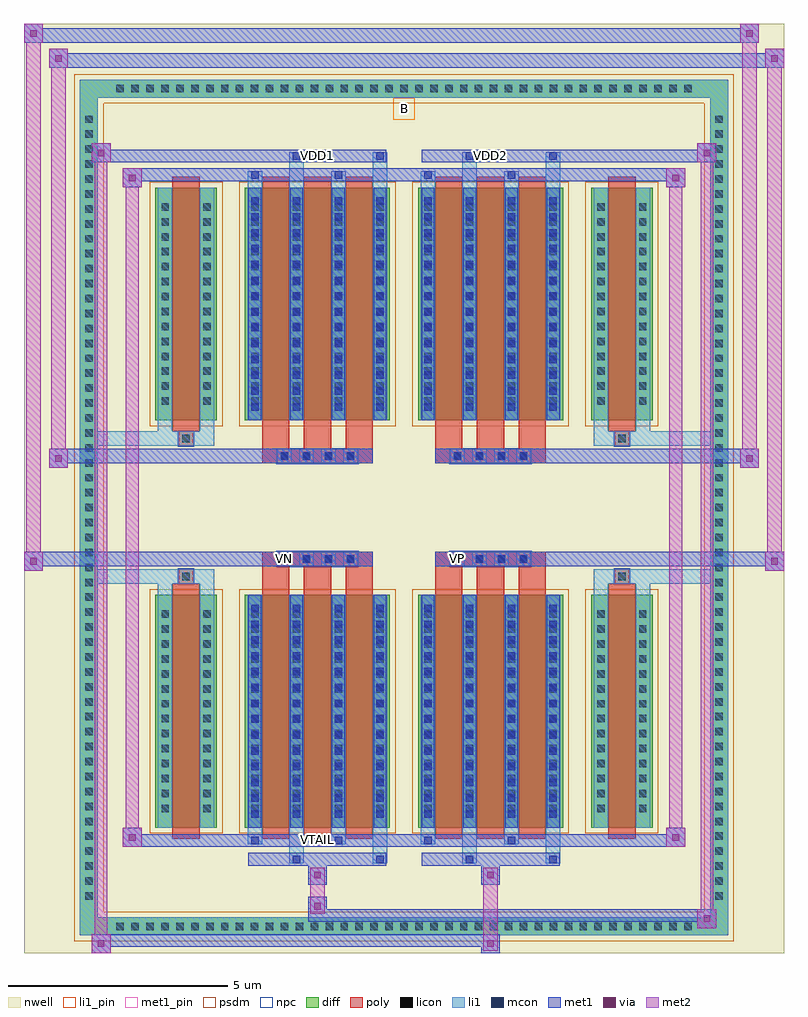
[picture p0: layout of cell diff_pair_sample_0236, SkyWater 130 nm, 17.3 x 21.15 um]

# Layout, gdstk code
import gdstk
lib = gdstk.Library(unit=1e-6, precision=5e-09)
def R(c, l, rs):  # rectangles x0, y0, x1, y1
    for r in rs: c.add(gdstk.rectangle(r[:2], r[2:], *l))
def A(c, l, x, y, w, h, nx, ny, dx, dy):  # array of equal rectangles
    R(c, l, [(x+i*dx, y+j*dy, x+i*dx+w, y+j*dy+h) for i in range(nx) for j in range(ny)])
def P(c, l, *ps):  # polygons
    for p in ps: c.add(gdstk.Polygon(p, *l))
nwell = (64, 20)
diff = (65, 20)
poly = (66, 20)
licon = (66, 44)
li1_pin = (67, 16)
li1 = (67, 20)
mcon = (67, 44)
met1_pin = (68, 16)
met1 = (68, 20)
via = (68, 44)
met2 = (69, 20)
psdm = (94, 20)
npc = (95, 20)

diff_pair_sample_0236 = lib.new_cell('diff_pair_sample_0236')
R(diff_pair_sample_0236, nwell, [(-8.65,-10.14,8.65,11.01), (-5.97,-8.33,-0.01,-0.805), (0.01,-8.33,5.97,-0.805), (-5.97,0.805,-0.01,8.33), (0.01,0.805,5.97,8.33)])
A(diff_pair_sample_0236, diff, -6.665, -9.74, 0.41, 0.41, 39, 2, 0.34, 19.07)
A(diff_pair_sample_0236, diff, -7.38, -9.045, 0.41, 0.41, 1, 53, 0, 0.34)
A(diff_pair_sample_0236, diff, 6.97, -9.045, 0.41, 0.41, 1, 53, 0, 0.34)
R(diff_pair_sample_0236, diff, [(-6.665,-9.74,6.665,-9.33), (-7.38,-9.045,-6.97,9.045), (6.97,-9.045,7.38,9.045), (-5.66,-7.285,-4.26,-1.985), (-3.62,-7.285,-0.32,-1.985), (0.32,-7.285,3.62,-1.985), (4.26,-7.285,5.66,-1.985), (-5.66,1.985,-4.26,7.285), (-3.62,1.985,-0.32,7.285), (0.32,1.985,3.62,7.285), (4.26,1.985,5.66,7.285), (-6.665,9.33,6.665,9.74)])
P(diff_pair_sample_0236, diff, [(7.38,9.74),(-7.38,9.74),(-7.38,-9.33),(-6.97,-9.33),(-6.97,9.33),(6.97,9.33),(6.97,-9.33),(-6.97,-9.33),(-7.38,-9.33),(-7.38,-9.74),(7.38,-9.74)])
A(diff_pair_sample_0236, poly, -3.23, -7.535, 0.62, 5.8, 3, 2, 0.95, 9.27)
A(diff_pair_sample_0236, poly, 0.71, -7.535, 0.62, 5.8, 3, 2, 0.95, 9.27)
A(diff_pair_sample_0236, poly, -3.23, -1.735, 0.62, 0.4, 3, 2, 0.95, 3.07)
A(diff_pair_sample_0236, poly, 0.71, -1.735, 0.62, 0.4, 3, 2, 0.95, 3.07)
A(diff_pair_sample_0236, poly, -2.885, -1.335, 0.33, 0.33, 4, 2, 0.5, 2.34)
A(diff_pair_sample_0236, poly, 1.055, -1.335, 0.33, 0.33, 4, 2, 0.5, 2.34)
R(diff_pair_sample_0236, poly, [(-5.27,-7.535,-4.65,-1.735), (4.65,-7.535,5.27,-1.735), (-5.125,-1.735,-4.795,-1.405), (-5.125,-1.735,-4.795,-1.405), (4.795,-1.735,5.125,-1.405), (4.795,-1.735,5.125,-1.405), (-3.23,-1.335,-0.71,-1.005), (0.71,-1.335,3.23,-1.005), (-3.23,1.005,-0.71,1.335), (0.71,1.005,3.23,1.335), (-5.125,1.405,-4.795,1.735), (-5.125,1.405,-4.795,1.735), (4.795,1.405,5.125,1.735), (4.795,1.405,5.125,1.735), (-5.27,1.735,-4.65,7.535), (4.65,1.735,5.27,7.535)])
A(diff_pair_sample_0236, licon, -6.545, -9.62, 0.17, 0.17, 39, 2, 0.34, 19.07)
A(diff_pair_sample_0236, licon, -7.26, -8.925, 0.17, 0.17, 1, 53, 0, 0.34)
A(diff_pair_sample_0236, licon, 7.09, -8.925, 0.17, 0.17, 1, 53, 0, 0.34)
A(diff_pair_sample_0236, licon, -5.52, -6.93, 0.17, 0.17, 1, 14, 0, 0.34)
A(diff_pair_sample_0236, licon, -4.57, -6.93, 0.17, 0.17, 1, 14, 0, 0.34)
A(diff_pair_sample_0236, licon, -3.48, -6.93, 0.17, 0.17, 4, 14, 0.95, 0.34)
A(diff_pair_sample_0236, licon, 0.46, -6.93, 0.17, 0.17, 4, 14, 0.95, 0.34)
A(diff_pair_sample_0236, licon, 4.4, -6.93, 0.17, 0.17, 1, 14, 0, 0.34)
A(diff_pair_sample_0236, licon, 5.35, -6.93, 0.17, 0.17, 1, 14, 0, 0.34)
A(diff_pair_sample_0236, licon, -2.805, -1.255, 0.17, 0.17, 4, 2, 0.5, 2.34)
A(diff_pair_sample_0236, licon, 1.135, -1.255, 0.17, 0.17, 4, 2, 0.5, 2.34)
A(diff_pair_sample_0236, licon, -5.52, 2.34, 0.17, 0.17, 1, 14, 0, 0.34)
A(diff_pair_sample_0236, licon, -4.57, 2.34, 0.17, 0.17, 1, 14, 0, 0.34)
A(diff_pair_sample_0236, licon, -3.48, 2.34, 0.17, 0.17, 4, 14, 0.95, 0.34)
A(diff_pair_sample_0236, licon, 0.46, 2.34, 0.17, 0.17, 4, 14, 0.95, 0.34)
A(diff_pair_sample_0236, licon, 4.4, 2.34, 0.17, 0.17, 1, 14, 0, 0.34)
A(diff_pair_sample_0236, licon, 5.35, 2.34, 0.17, 0.17, 1, 14, 0, 0.34)
R(diff_pair_sample_0236, licon, [(-5.045,-1.655,-4.875,-1.485), (4.875,-1.655,5.045,-1.485), (-5.045,1.485,-4.875,1.655), (4.875,1.485,5.045,1.655)])
R(diff_pair_sample_0236, li1_pin, [(-0.25,8.83,0.25,9.33)])
A(diff_pair_sample_0236, li1, -6.625, -9.7, 0.33, 0.33, 39, 2, 0.34, 19.07)
A(diff_pair_sample_0236, li1, -7.34, -9.005, 0.33, 0.33, 1, 53, 0, 0.34)
A(diff_pair_sample_0236, li1, 7.01, -9.005, 0.33, 0.33, 1, 53, 0, 0.34)
A(diff_pair_sample_0236, li1, -3.56, -7.285, 0.33, 5.3, 4, 2, 0.95, 9.27)
A(diff_pair_sample_0236, li1, 0.38, -7.285, 0.33, 5.3, 4, 2, 0.95, 9.27)
A(diff_pair_sample_0236, li1, -3.48, -7.06, 0.17, 0.17, 4, 14, 0.95, 0.36)
A(diff_pair_sample_0236, li1, -3.48, -7.06, 0.17, 4.85, 4, 2, 0.95, 9.27)
A(diff_pair_sample_0236, li1, 0.46, -7.06, 0.17, 0.17, 4, 14, 0.95, 0.36)
A(diff_pair_sample_0236, li1, 0.46, -7.06, 0.17, 4.85, 4, 2, 0.95, 9.27)
A(diff_pair_sample_0236, li1, -5.6, -7.01, 0.33, 0.33, 1, 14, 0, 0.34)
A(diff_pair_sample_0236, li1, -4.65, -7.01, 0.33, 0.33, 1, 14, 0, 0.34)
A(diff_pair_sample_0236, li1, -3.56, -7.01, 0.33, 0.33, 4, 14, 0.95, 0.34)
A(diff_pair_sample_0236, li1, 0.38, -7.01, 0.33, 0.33, 4, 14, 0.95, 0.34)
A(diff_pair_sample_0236, li1, 4.32, -7.01, 0.33, 0.33, 1, 14, 0, 0.34)
A(diff_pair_sample_0236, li1, 5.27, -7.01, 0.33, 0.33, 1, 14, 0, 0.34)
A(diff_pair_sample_0236, li1, -2.885, -1.335, 0.33, 0.33, 4, 2, 0.5, 2.34)
A(diff_pair_sample_0236, li1, 1.055, -1.335, 0.33, 0.33, 4, 2, 0.5, 2.34)
A(diff_pair_sample_0236, li1, -3.48, 2.21, 0.17, 0.17, 4, 14, 0.95, 0.36)
A(diff_pair_sample_0236, li1, 0.46, 2.21, 0.17, 0.17, 4, 14, 0.95, 0.36)
A(diff_pair_sample_0236, li1, -5.6, 2.26, 0.33, 0.33, 1, 14, 0, 0.34)
A(diff_pair_sample_0236, li1, -4.65, 2.26, 0.33, 0.33, 1, 14, 0, 0.34)
A(diff_pair_sample_0236, li1, -3.56, 2.26, 0.33, 0.33, 4, 14, 0.95, 0.34)
A(diff_pair_sample_0236, li1, 0.38, 2.26, 0.33, 0.33, 4, 14, 0.95, 0.34)
A(diff_pair_sample_0236, li1, 4.32, 2.26, 0.33, 0.33, 1, 14, 0, 0.34)
A(diff_pair_sample_0236, li1, 5.27, 2.26, 0.33, 0.33, 1, 14, 0, 0.34)
R(diff_pair_sample_0236, li1, [(-7.38,-9.74,-6.97,-9.33), (-7.38,-9.74,-6.97,-9.33), (-6.97,-9.74,6.97,-9.33), (6.97,-9.74,7.38,-9.33), (6.97,-9.74,7.38,-9.33), (-7.38,-9.33,-6.97,9.33), (6.97,-9.33,7.38,9.33), (-2.61,-8.09,-2.28,-7.285), (-2.53,-8.09,-2.36,-7.92), (-0.71,-8.09,-0.38,-7.285), (-0.63,-8.09,-0.46,-7.92), (1.33,-8.09,1.66,-7.285), (1.41,-8.09,1.58,-7.92), (3.23,-8.09,3.56,-7.285), (3.31,-8.09,3.48,-7.92), (-3.56,-7.66,-3.23,-7.285), (-3.48,-7.66,-3.31,-7.49), (-1.66,-7.66,-1.33,-7.285), (-1.58,-7.66,-1.41,-7.49), (0.38,-7.66,0.71,-7.285), (0.46,-7.66,0.63,-7.49), (2.28,-7.66,2.61,-7.285), (2.36,-7.66,2.53,-7.49), (-5.6,-7.285,-5.27,-1.985), (-4.65,-7.285,-4.32,-1.985), (4.32,-7.285,4.65,-1.985), (5.27,-7.285,5.6,-1.985), (-5.6,-1.985,-5.27,-1.405), (-4.65,-1.985,-4.32,-1.405), (4.32,-1.985,4.65,-1.405), (5.27,-1.985,5.6,-1.405), (-7.38,-1.735,-5.125,-1.405), (-5.6,-1.735,-5.125,-1.405), (-5.125,-1.735,-4.795,-1.405), (-4.795,-1.735,-4.32,-1.405), (4.32,-1.735,4.795,-1.405), (4.795,-1.735,5.125,-1.405), (4.795,-1.735,7.38,-1.405), (5.125,-1.735,5.6,-1.405), (-7.38,1.405,-5.125,1.735), (-5.6,1.405,-5.125,1.735), (-5.6,1.405,-5.27,1.985), (-5.125,1.405,-4.795,1.735), (-4.795,1.405,-4.32,1.735), (-4.65,1.405,-4.32,1.985), (4.32,1.405,4.795,1.735), (4.32,1.405,4.65,1.985), (4.795,1.405,5.125,1.735), (4.795,1.405,7.38,1.735), (5.125,1.405,5.6,1.735), (5.27,1.405,5.6,1.985), (-5.6,1.985,-5.27,7.285), (-4.65,1.985,-4.32,7.285), (4.32,1.985,4.65,7.285), (5.27,1.985,5.6,7.285), (-3.56,7.285,-3.23,7.66), (-2.61,7.285,-2.28,8.09), (-1.66,7.285,-1.33,7.66), (-0.71,7.285,-0.38,8.09), (0.38,7.285,0.71,7.66), (1.33,7.285,1.66,8.09), (2.28,7.285,2.61,7.66), (3.23,7.285,3.56,8.09), (-3.48,7.49,-3.31,7.66), (-1.58,7.49,-1.41,7.66), (0.46,7.49,0.63,7.66), (2.36,7.49,2.53,7.66), (-2.53,7.92,-2.36,8.09), (-0.63,7.92,-0.46,8.09), (1.41,7.92,1.58,8.09), (3.31,7.92,3.48,8.09), (-7.38,9.33,-6.97,9.74), (-7.38,9.33,-6.97,9.74), (-6.97,9.33,6.97,9.74), (6.97,9.33,7.38,9.74), (6.97,9.33,7.38,9.74)])
A(diff_pair_sample_0236, mcon, -3.48, -7.06, 0.17, 0.17, 4, 14, 0.95, 0.36)
A(diff_pair_sample_0236, mcon, 0.46, -7.06, 0.17, 0.17, 4, 14, 0.95, 0.36)
A(diff_pair_sample_0236, mcon, -2.805, -1.255, 0.17, 0.17, 4, 2, 0.5, 2.34)
A(diff_pair_sample_0236, mcon, 1.135, -1.255, 0.17, 0.17, 4, 2, 0.5, 2.34)
A(diff_pair_sample_0236, mcon, -3.48, 2.21, 0.17, 0.17, 4, 14, 0.95, 0.36)
A(diff_pair_sample_0236, mcon, 0.46, 2.21, 0.17, 0.17, 4, 14, 0.95, 0.36)
R(diff_pair_sample_0236, mcon, [(-2.53,-8.09,-2.36,-7.92), (-0.63,-8.09,-0.46,-7.92), (1.41,-8.09,1.58,-7.92), (3.31,-8.09,3.48,-7.92), (-3.48,-7.66,-3.31,-7.49), (-1.58,-7.66,-1.41,-7.49), (0.46,-7.66,0.63,-7.49), (2.36,-7.66,2.53,-7.49), (-3.48,7.49,-3.31,7.66), (-1.58,7.49,-1.41,7.66), (0.46,7.49,0.63,7.66), (2.36,7.49,2.53,7.66), (-2.53,7.92,-2.36,8.09), (-0.63,7.92,-0.46,8.09), (1.41,7.92,1.58,8.09), (3.31,7.92,3.48,8.09)])
R(diff_pair_sample_0236, met1_pin, [(-2.105,-7.7,-1.835,-7.43), (-2.855,-1.295,-2.585,-1.025), (1.085,-1.295,1.355,-1.025), (-2.105,7.88,-1.835,8.15), (1.835,7.88,2.105,8.15)])
A(diff_pair_sample_0236, met1, -3.54, -7.285, 0.29, 5.3, 4, 2, 0.95, 9.27)
A(diff_pair_sample_0236, met1, 0.4, -7.285, 0.29, 5.3, 4, 2, 0.95, 9.27)
A(diff_pair_sample_0236, met1, -3.54, -7.12, 0.29, 0.29, 4, 14, 0.95, 0.36)
A(diff_pair_sample_0236, met1, 0.4, -7.12, 0.29, 0.29, 4, 14, 0.95, 0.36)
A(diff_pair_sample_0236, met1, -2.865, -1.315, 0.29, 0.29, 4, 2, 0.5, 2.34)
A(diff_pair_sample_0236, met1, 1.075, -1.315, 0.29, 0.29, 4, 2, 0.5, 2.34)
A(diff_pair_sample_0236, met1, -3.54, 2.15, 0.29, 0.29, 4, 14, 0.95, 0.36)
A(diff_pair_sample_0236, met1, 0.4, 2.15, 0.29, 0.29, 4, 14, 0.95, 0.36)
R(diff_pair_sample_0236, met1, [(-7.11,-10.14,-6.68,-9.71), (1.755,-10.14,2.185,-9.71), (-7.11,-10,2.185,-9.71), (6.68,-9.57,7.11,-9.14), (-2.185,-9.43,7.11,-9.14), (-2.185,-9.29,-1.755,-8.86), (-2.185,-8.58,-1.755,-8.15), (1.755,-8.58,2.185,-8.15), (-3.54,-8.15,-0.4,-7.86), (-2.59,-8.15,-2.3,-7.86), (-0.69,-8.15,-0.4,-7.86), (0.4,-8.15,3.54,-7.86), (1.35,-8.15,1.64,-7.86), (3.25,-8.15,3.54,-7.86), (-6.4,-7.72,-5.97,-7.29), (-6.4,-7.72,-3.54,-7.43), (-3.54,-7.72,-3.25,-7.43), (-3.54,-7.72,-0.4,-7.43), (-1.64,-7.72,-1.35,-7.43), (-0.4,-7.72,0.4,-7.43), (0.4,-7.72,0.69,-7.43), (0.4,-7.72,3.54,-7.43), (2.3,-7.72,2.59,-7.43), (3.54,-7.72,6.4,-7.43), (5.97,-7.72,6.4,-7.29), (-8.65,-1.435,-8.22,-1.005), (8.22,-1.435,8.65,-1.005), (-8.65,-1.335,-0.71,-1.005), (-3.23,-1.335,-0.71,-1.005), (0.71,-1.335,3.23,-1.005), (0.71,-1.335,8.65,-1.005), (-8.08,0.905,-7.65,1.335), (7.65,0.905,8.08,1.335), (-8.08,1.005,-3.23,1.335), (-3.23,1.005,-0.71,1.335), (0.71,1.005,3.23,1.335), (3.23,1.005,8.08,1.335), (-6.4,7.29,-5.97,7.72), (5.97,7.29,6.4,7.72), (-6.4,7.43,-3.54,7.72), (-3.54,7.43,-3.25,7.72), (-3.54,7.43,-0.4,7.72), (-1.64,7.43,-1.35,7.72), (-0.4,7.43,0.4,7.72), (0.4,7.43,0.69,7.72), (0.4,7.43,3.54,7.72), (2.3,7.43,2.59,7.72), (3.54,7.43,6.4,7.72), (-7.11,7.86,-6.68,8.29), (-7.11,7.86,-3.54,8.15), (-3.54,7.86,-0.4,8.15), (-2.59,7.86,-2.3,8.15), (-0.69,7.86,-0.4,8.15), (0.4,7.86,3.54,8.15), (1.35,7.86,1.64,8.15), (3.25,7.86,3.54,8.15), (3.54,7.86,7.11,8.15), (6.68,7.86,7.11,8.29), (-8.08,10.01,-7.65,10.44), (-8.08,10.01,-5.97,10.34), (-5.97,10.01,5.97,10.34), (5.97,10.01,8.65,10.34), (8.22,10.01,8.65,10.44), (-8.65,10.58,-8.22,11.01), (-8.65,10.58,-5.97,10.91), (-5.97,10.58,5.97,10.91), (5.97,10.58,8.08,10.91), (7.65,10.58,8.08,11.01)])
R(diff_pair_sample_0236, via, [(-6.97,-10,-6.82,-9.85), (1.895,-10,2.045,-9.85), (6.82,-9.43,6.97,-9.28), (-2.045,-9.15,-1.895,-9), (-2.045,-8.44,-1.895,-8.29), (1.895,-8.44,2.045,-8.29), (-6.26,-7.58,-6.11,-7.43), (6.11,-7.58,6.26,-7.43), (-8.51,-1.295,-8.36,-1.145), (8.36,-1.295,8.51,-1.145), (-7.94,1.045,-7.79,1.195), (7.79,1.045,7.94,1.195), (-6.26,7.43,-6.11,7.58), (6.11,7.43,6.26,7.58), (-6.97,8,-6.82,8.15), (6.82,8,6.97,8.15), (-7.94,10.15,-7.79,10.3), (8.36,10.15,8.51,10.3), (-8.51,10.72,-8.36,10.87), (7.79,10.72,7.94,10.87)])
R(diff_pair_sample_0236, met2, [(-7.11,-10.14,-6.68,-9.71), (-7.04,-10.14,-6.75,8.29), (-6.75,-10.14,-6.68,-9.71), (-7.06,-10.09,-6.73,-9.76), (1.805,-10.09,2.135,-9.76), (1.805,-9.76,2.135,-8.53), (6.68,-9.57,7.11,-9.14), (6.75,-9.57,7.04,8.29), (7.04,-9.57,7.11,-9.14), (6.73,-9.52,7.06,-9.19), (-2.135,-9.24,-1.805,-8.91), (-2.135,-8.91,-1.805,-8.53), (-2.135,-8.53,-1.805,-8.2), (1.805,-8.53,2.135,-8.2), (-6.4,-7.72,-5.97,-7.29), (-6.33,-7.72,-6.04,7.72), (-6.04,-7.72,-5.97,-7.29), (5.97,-7.72,6.4,-7.29), (6.04,-7.72,6.33,7.72), (6.33,-7.72,6.4,-7.29), (-6.35,-7.67,-6.02,-7.34), (6.02,-7.67,6.35,-7.34), (-8.65,-1.435,-8.22,-1.005), (-8.6,-1.435,-8.27,11.01), (-8.27,-1.435,-8.22,-1.005), (8.22,-1.435,8.65,-1.005), (8.27,-1.435,8.6,10.44), (8.6,-1.435,8.65,-1.005), (-8.6,-1.385,-8.27,-1.055), (8.27,-1.385,8.6,-1.055), (-8.08,0.905,-7.65,1.335), (-8.03,0.905,-7.7,10.44), (-7.7,0.905,-7.65,1.335), (7.65,0.905,8.08,1.335), (7.7,0.905,8.03,11.01), (8.03,0.905,8.08,1.335), (-8.03,0.955,-7.7,1.285), (7.7,0.955,8.03,1.285), (-6.4,7.29,-5.97,7.72), (-6.04,7.29,-5.97,7.72), (5.97,7.29,6.4,7.72), (6.33,7.29,6.4,7.72), (-6.35,7.34,-6.02,7.67), (6.02,7.34,6.35,7.67), (-7.11,7.86,-6.68,8.29), (-6.75,7.86,-6.68,8.29), (6.68,7.86,7.11,8.29), (7.04,7.86,7.11,8.29), (-7.06,7.91,-6.73,8.24), (6.73,7.91,7.06,8.24), (-8.08,10.01,-7.65,10.44), (-7.7,10.01,-7.65,10.44), (8.22,10.01,8.65,10.44), (8.6,10.01,8.65,10.44), (-8.03,10.06,-7.7,10.39), (8.27,10.06,8.6,10.39), (-8.65,10.58,-8.22,11.01), (-8.27,10.58,-8.22,11.01), (7.65,10.58,8.08,11.01), (8.03,10.58,8.08,11.01), (-8.6,10.63,-8.27,10.96), (7.7,10.63,8.03,10.96)])
R(diff_pair_sample_0236, psdm, [(-5.79,-7.415,-4.13,-1.855), (-3.75,-7.415,-0.19,-1.855), (0.19,-7.415,3.75,-1.855), (4.13,-7.415,5.79,-1.855), (-5.79,1.855,-4.13,7.415), (-3.75,1.855,-0.19,7.415), (0.19,1.855,3.75,7.415), (4.13,1.855,5.79,7.415)])
P(diff_pair_sample_0236, psdm, [(7.51,9.87),(-7.51,9.87),(-7.51,-9.2),(-6.84,-9.2),(-6.84,9.2),(6.84,9.2),(6.84,-9.2),(-6.84,-9.2),(-7.51,-9.2),(-7.51,-9.87),(7.51,-9.87)])
A(diff_pair_sample_0236, npc, -2.905, -1.355, 0.37, 0.37, 4, 2, 0.5, 2.34)
A(diff_pair_sample_0236, npc, 1.035, -1.355, 0.37, 0.37, 4, 2, 0.5, 2.34)
R(diff_pair_sample_0236, npc, [(-5.145,-1.755,-4.775,-1.385), (4.775,-1.755,5.145,-1.385), (-2.905,-1.355,-2.035,-0.985), (-2.905,-1.355,-2.035,-0.985), (-2.405,-1.355,-1.535,-0.985), (-2.405,-1.355,-1.535,-0.985), (-1.905,-1.355,-1.035,-0.985), (-1.905,-1.355,-1.035,-0.985), (1.035,-1.355,1.905,-0.985), (1.035,-1.355,1.905,-0.985), (1.535,-1.355,2.405,-0.985), (1.535,-1.355,2.405,-0.985), (2.035,-1.355,2.905,-0.985), (2.035,-1.355,2.905,-0.985), (-2.905,0.985,-2.035,1.355), (-2.905,0.985,-2.035,1.355), (-2.405,0.985,-1.535,1.355), (-2.405,0.985,-1.535,1.355), (-1.905,0.985,-1.035,1.355), (-1.905,0.985,-1.035,1.355), (1.035,0.985,1.905,1.355), (1.035,0.985,1.905,1.355), (1.535,0.985,2.405,1.355), (1.535,0.985,2.405,1.355), (2.035,0.985,2.905,1.355), (2.035,0.985,2.905,1.355), (-5.145,1.385,-4.775,1.755), (4.775,1.385,5.145,1.755)])
diff_pair_sample_0236.add(gdstk.Label('VTAIL', (-1.97,-7.565), layer=68, texttype=5))
diff_pair_sample_0236.add(gdstk.Label('VN', (-2.72,-1.16), layer=68, texttype=5))
diff_pair_sample_0236.add(gdstk.Label('VP', (1.22,-1.16), layer=68, texttype=5))
diff_pair_sample_0236.add(gdstk.Label('B', (0,9.08), layer=67, texttype=5))
diff_pair_sample_0236.add(gdstk.Label('VDD2', (1.97,8.015), layer=68, texttype=5))
diff_pair_sample_0236.add(gdstk.Label('VDD1', (-1.97,8.015), layer=68, texttype=5))

lib.write_gds('diff_pair_sample_0236.gds')
